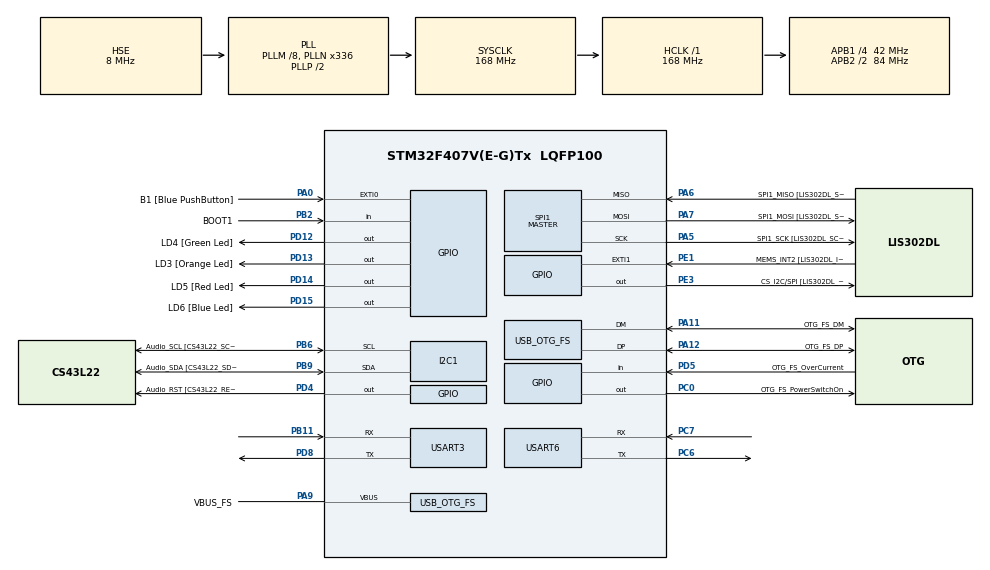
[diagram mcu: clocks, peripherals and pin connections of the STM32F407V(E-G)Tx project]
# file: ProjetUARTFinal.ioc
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Mcu.Family=STM32F4
Mcu.Name=STM32F407V(E-G)Tx
Mcu.Package=LQFP100
NVIC.OTG_FS_IRQn=true\:0\:0\:false\:false\:true\:true\:true
NVIC.PriorityGroup=NVIC_PRIORITYGROUP_0
NVIC.USART3_IRQn=true\:0\:0\:false\:false\:true\:true\:true
PA0-WKUP.GPIO_Label=B1 [Blue PushButton]
PA0-WKUP.GPIO_ModeDefaultEXTI=GPIO_MODE_EVT_RISING
PA0-WKUP.GPIO_PuPd=GPIO_NOPULL
PA0-WKUP.Signal=GPXTI0
PA10.GPIO_Label=OTG_FS_ID
PA10.GPIO_Mode=GPIO_MODE_AF_PP
PA10.GPIO_PuPd=GPIO_NOPULL
PA10.GPIO_Speed=GPIO_SPEED_FREQ_LOW
PA10.Signal=USB_OTG_FS_ID
PA11.GPIO_Label=OTG_FS_DM
PA11.GPIO_Mode=GPIO_MODE_AF_PP
PA11.GPIO_PuPd=GPIO_NOPULL
PA11.GPIO_Speed=GPIO_SPEED_FREQ_LOW
PA11.Mode=Host_Only
PA11.Signal=USB_OTG_FS_DM
PA12.GPIO_Label=OTG_FS_DP
PA12.GPIO_Mode=GPIO_MODE_AF_PP
PA12.GPIO_PuPd=GPIO_NOPULL
PA12.GPIO_Speed=GPIO_SPEED_FREQ_LOW
PA12.Mode=Host_Only
PA12.Signal=USB_OTG_FS_DP
PA13.GPIO_Label=SWDIO
PA13.Mode=Serial_Wire
PA13.Signal=SYS_JTMS-SWDIO
PA14.GPIO_Label=SWCLK
PA14.Mode=Serial_Wire
PA14.Signal=SYS_JTCK-SWCLK
PA4.GPIO_Label=I2S3_WS [CS43L22_LRCK]
PA4.GPIO_Mode=GPIO_MODE_AF_PP
PA4.GPIO_PuPd=GPIO_NOPULL
PA4.GPIO_Speed=GPIO_SPEED_FREQ_LOW
PA4.Signal=I2S3_WS
PA5.GPIO_Label=SPI1_SCK [LIS302DL_SCL/SPC]
PA5.GPIO_Mode=GPIO_MODE_AF_PP
PA5.GPIO_PuPd=GPIO_NOPULL
PA5.GPIO_Speed=GPIO_SPEED_FREQ_LOW
PA5.Mode=Full_Duplex_Master
PA5.Signal=SPI1_SCK
PA6.GPIO_Label=SPI1_MISO [LIS302DL_SDO]
PA6.GPIO_Mode=GPIO_MODE_AF_PP
PA6.GPIO_PuPd=GPIO_NOPULL
PA6.GPIO_Speed=GPIO_SPEED_FREQ_LOW
PA6.Mode=Full_Duplex_Master
PA6.Signal=SPI1_MISO
PA7.GPIO_Label=SPI1_MOSI [LIS302DL_SDA/SDI/SDO]
PA7.GPIO_Mode=GPIO_MODE_AF_PP
PA7.GPIO_PuPd=GPIO_NOPULL
PA7.GPIO_Speed=GPIO_SPEED_FREQ_LOW
PA7.Mode=Full_Duplex_Master
PA7.Signal=SPI1_MOSI
PA9.GPIO_Label=VBUS_FS
PA9.GPIO_Mode=GPIO_MODE_INPUT
PA9.GPIO_PuPd=GPIO_NOPULL
PA9.Mode=Activate_VBUS
PA9.Signal=USB_OTG_FS_VBUS
PB10.GPIO_Label=CLK_IN [MP45DT02_CLK]
PB10.GPIO_Mode=GPIO_MODE_AF_PP
PB10.GPIO_PuPd=GPIO_NOPULL
PB10.GPIO_Speed=GPIO_SPEED_FREQ_LOW
PB10.Signal=I2S2_CK
PB11.Mode=Asynchronous
PB11.Signal=USART3_RX
PB2.GPIO_Label=BOOT1
PB2.GPIO_Mode=GPIO_MODE_INPUT
PB2.GPIO_PuPd=GPIO_NOPULL
PB2.Signal=GPIO_Input
PB3.GPIO_Label=SWO
PB3.Signal=SYS_JTDO-SWO
PB6.GPIO_Label=Audio_SCL [CS43L22_SCL]
PB6.GPIO_Mode=GPIO_MODE_AF_OD
PB6.GPIO_PuPd=GPIO_NOPULL
PB6.GPIO_Speed=GPIO_SPEED_FREQ_LOW
PB6.Mode=I2C
PB6.Signal=I2C1_SCL
PB9.GPIO_Label=Audio_SDA [CS43L22_SDA]
PB9.GPIO_Mode=GPIO_MODE_AF_OD
PB9.GPIO_PuPd=GPIO_NOPULL
PB9.GPIO_Speed=GPIO_SPEED_FREQ_LOW
PB9.Mode=I2C
PB9.Signal=I2C1_SDA
PC0.GPIO_Label=OTG_FS_PowerSwitchOn
PC0.GPIO_PuPd=GPIO_NOPULL
PC0.GPIO_Speed=GPIO_SPEED_FREQ_LOW
PC0.PinState=GPIO_PIN_SET
PC0.Signal=GPIO_Output
PC10.GPIO_Label=I2S3_SCK [CS43L22_SCLK]
PC10.GPIO_Mode=GPIO_MODE_AF_PP
PC10.GPIO_PuPd=GPIO_NOPULL
PC10.GPIO_Speed=GPIO_SPEED_FREQ_LOW
PC10.Signal=I2S3_CK
PC12.GPIO_Label=I2S3_SD [CS43L22_SDIN]
PC12.GPIO_Mode=GPIO_MODE_AF_PP
PC12.GPIO_PuPd=GPIO_NOPULL
PC12.GPIO_Speed=GPIO_SPEED_FREQ_LOW
PC12.Signal=I2S3_SD
PC14-OSC32_IN.GPIO_Label=PC14-OSC32_IN
PC14-OSC32_IN.Mode=LSE-External-Oscillator
PC14-OSC32_IN.Signal=RCC_OSC32_IN
PC15-OSC32_OUT.GPIO_Label=PC15-OSC32_OUT
PC15-OSC32_OUT.Mode=LSE-External-Oscillator
PC15-OSC32_OUT.Signal=RCC_OSC32_OUT
PC3.GPIO_Label=PDM_OUT [MP45DT02_DOUT]
PC3.GPIO_Mode=GPIO_MODE_AF_PP
PC3.GPIO_PuPd=GPIO_NOPULL
PC3.GPIO_Speed=GPIO_SPEED_FREQ_LOW
PC3.Signal=I2S2_SD
PC6.Mode=Asynchronous
PC6.Signal=USART6_TX
PC7.Mode=Asynchronous
PC7.Signal=USART6_RX
PD12.GPIO_Label=LD4 [Green Led]
PD12.GPIO_PuPd=GPIO_NOPULL
PD12.GPIO_Speed=GPIO_SPEED_FREQ_LOW
PD12.Signal=GPIO_Output
PD13.GPIO_Label=LD3 [Orange Led]
PD13.GPIO_PuPd=GPIO_NOPULL
PD13.GPIO_Speed=GPIO_SPEED_FREQ_LOW
PD13.Signal=GPIO_Output
PD14.GPIO_Label=LD5 [Red Led]
PD14.GPIO_PuPd=GPIO_NOPULL
PD14.GPIO_Speed=GPIO_SPEED_FREQ_LOW
PD14.Signal=GPIO_Output
PD15.GPIO_Label=LD6 [Blue Led]
PD15.GPIO_PuPd=GPIO_NOPULL
PD15.GPIO_Speed=GPIO_SPEED_FREQ_LOW
PD15.Signal=GPIO_Output
PD4.GPIO_Label=Audio_RST [CS43L22_RESET]
PD4.GPIO_PuPd=GPIO_NOPULL
PD4.GPIO_Speed=GPIO_SPEED_FREQ_LOW
PD4.Signal=GPIO_Output
PD5.GPIO_Label=OTG_FS_OverCurrent
PD5.GPIO_Mode=GPIO_MODE_INPUT
PD5.GPIO_PuPd=GPIO_NOPULL
PD5.Signal=GPIO_Input
PD8.Mode=Asynchronous
PD8.Signal=USART3_TX
PE1.GPIO_Label=MEMS_INT2 [LIS302DL_INT2]
PE1.GPIO_ModeDefaultEXTI=GPIO_MODE_EVT_RISING
PE1.GPIO_PuPd=GPIO_NOPULL
PE1.Signal=GPXTI1
PE3.GPIO_Label=CS_I2C/SPI [LIS302DL_CS_I2C/SPI]
PE3.GPIO_PuPd=GPIO_NOPULL
PE3.GPIO_Speed=GPIO_SPEED_FREQ_LOW
PE3.Signal=GPIO_Output
PH0-OSC_IN.GPIO_Label=PH0-OSC_IN
PH0-OSC_IN.Mode=HSE-External-Oscillator
PH0-OSC_IN.Signal=RCC_OSC_IN
PH1-OSC_OUT.GPIO_Label=PH1-OSC_OUT
PH1-OSC_OUT.Mode=HSE-External-Oscillator
PH1-OSC_OUT.Signal=RCC_OSC_OUT
ProjectManager.HeapSize=0x200
ProjectManager.StackSize=0x400
ProjectManager.TargetToolchain=TrueSTUDIO
RCC.48MHZClocksFreq_Value=48000000
RCC.AHBFreq_Value=168000000
RCC.APB1CLKDivider=RCC_HCLK_DIV4
RCC.APB1Freq_Value=42000000
RCC.APB1TimFreq_Value=84000000
RCC.APB2CLKDivider=RCC_HCLK_DIV2
RCC.APB2Freq_Value=84000000
RCC.APB2TimFreq_Value=168000000
RCC.CortexFreq_Value=168000000
RCC.HCLKFreq_Value=168000000
RCC.HSE_VALUE=8000000
RCC.HSI_VALUE=16000000
RCC.PLLM=8
RCC.PLLN=336
RCC.PLLQ=7
RCC.SYSCLKFreq_VALUE=168000000
RCC.SYSCLKSource=RCC_SYSCLKSOURCE_PLLCLK
RCC.VCOOutputFreq_Value=336000000
SPI1.BaudRatePrescaler-Full_Duplex_Master=SPI_BAUDRATEPRESCALER_2
SPI1.CalculateBaudRate-Full_Duplex_Master=42.0 MBits/s
SPI1.Direction=SPI_DIRECTION_2LINES
SPI1.Mode=SPI_MODE_MASTER
SPI1.Mode-Full_Duplex_Master=SPI_MODE_MASTER
SPI1.VirtualType=VM_MASTER
USART3.VirtualMode=VM_ASYNC
USART6.VirtualMode=VM_ASYNC
USB_HOST.BSP.number=1
USB_HOST.USBH_HandleTypeDef-CDC_FS=hUsbHostFS
USB_HOST.VirtualModeFS=Cdc
USB_HOST0.BSP.STBoard=false
USB_HOST0.BSP.api=Unknown
USB_HOST0.BSP.i2caddr=0
USB_HOST0.BSP.i2creg=0
USB_HOST0.BSP.instance=PC0
USB_HOST0.BSP.ip=GPIO
USB_HOST0.BSP.mode=Output
USB_HOST0.BSP.name=Drive_VBUS_FS
USB_HOST0.BSP.solution=PC0
USB_OTG_FS.VirtualMode=Host_Only
USB_OTG_FS.phy_itface=HCD_PHY_EMBEDDED
VP_USB_HOST_VS_USB_HOST_CDC_FS.Mode=CDC_FS
board=STM32F407G-DISC1

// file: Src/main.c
/* USER CODE BEGIN Header */
/**
  ******************************************************************************
  * @file           : main.c
  * @brief          : Main program body
  ******************************************************************************
  * @attention
  *
  * <h2><center>&copy; Copyright (c) 2020 STMicroelectronics.
  * All rights reserved.</center></h2>
  *
  * This software component is licensed by ST under Ultimate Liberty license
  * SLA0044, the "License"; You may not use this file except in compliance with
  * the License. You may obtain a copy of the License at:
  *                             www.st.com/SLA0044
  *
  ******************************************************************************
  */
/* USER CODE END Header */

#include "main.h"
#include "usb_host.h"

I2C_HandleTypeDef hi2c1;

SPI_HandleTypeDef hspi1;

UART_HandleTypeDef huart3;
UART_HandleTypeDef huart6;

void SystemClock_Config(void);
static void MX_GPIO_Init(void);
static void MX_I2C1_Init(void);
static void MX_SPI1_Init(void);
static void MX_USART3_UART_Init(void);
static void MX_USART6_UART_Init(void);
void MX_USB_HOST_Process(void);

/* USER CODE BEGIN 0 */
uint8_t received_car = 0;
uint8_t print_flag = 0;
void HAL_UART_RxCpltCallback(UART_HandleTypeDef *huart)
{
	//if ( huart->Instance == USART3 )
	//{
	if(received_car == 64){
		HAL_GPIO_TogglePin( GPIOD, LD3_Pin);
	}
	else{
		HAL_GPIO_TogglePin( GPIOD, LD5_Pin);
	}

	print_flag = 1;
	if(HAL_UART_Receive_IT( &huart3, &received_car, 1 ) == HAL_OK){
		HAL_GPIO_TogglePin( GPIOD, LD4_Pin);

	}
	//}

}

/* USER CODE END 0 */

int main(void)
{

  /* MCU Configuration--------------------------------------------------------*/

  /* Reset of all peripherals, Initializes the Flash interface and the Systick. */
  HAL_Init();

  /* Configure the system clock */
  SystemClock_Config();

  /* Initialize all configured peripherals */
  MX_GPIO_Init();
  MX_I2C1_Init();
  MX_SPI1_Init();
  MX_USART3_UART_Init();
  MX_USART6_UART_Init();
  MX_USB_HOST_Init();

  /* Infinite loop */
  /* USER CODE BEGIN WHILE */
  HAL_UART_Receive_IT( &huart3, &received_car, 1 );

  while (1)
  {
    /* USER CODE END WHILE */
    MX_USB_HOST_Process();
    /* USER CODE BEGIN 3 */

    if(print_flag == 1){
    	HAL_UART_Transmit(&huart6, &received_car, 1, 1000);
    	print_flag = 0;
    }
	HAL_GPIO_TogglePin( GPIOD, LD6_Pin);

  }

  /* USER CODE END 3 */
}

void SystemClock_Config(void)
{
  RCC_OscInitTypeDef RCC_OscInitStruct = {0};
  RCC_ClkInitTypeDef RCC_ClkInitStruct = {0};

  /** Configure the main internal regulator output voltage
  */
  __HAL_RCC_PWR_CLK_ENABLE();
  __HAL_PWR_VOLTAGESCALING_CONFIG(PWR_REGULATOR_VOLTAGE_SCALE1);
  /** Initializes the CPU, AHB and APB busses clocks
  */
  RCC_OscInitStruct.OscillatorType = RCC_OSCILLATORTYPE_HSE;
  RCC_OscInitStruct.HSEState = RCC_HSE_ON;
  RCC_OscInitStruct.PLL.PLLState = RCC_PLL_ON;
  RCC_OscInitStruct.PLL.PLLSource = RCC_PLLSOURCE_HSE;
  RCC_OscInitStruct.PLL.PLLM = 8;
  RCC_OscInitStruct.PLL.PLLN = 336;
  RCC_OscInitStruct.PLL.PLLP = RCC_PLLP_DIV2;
  RCC_OscInitStruct.PLL.PLLQ = 7;
  if (HAL_RCC_OscConfig(&RCC_OscInitStruct) != HAL_OK)
  {
    Error_Handler();
  }
  /** Initializes the CPU, AHB and APB busses clocks
  */
  RCC_ClkInitStruct.ClockType = RCC_CLOCKTYPE_HCLK|RCC_CLOCKTYPE_SYSCLK
                              |RCC_CLOCKTYPE_PCLK1|RCC_CLOCKTYPE_PCLK2;
  RCC_ClkInitStruct.SYSCLKSource = RCC_SYSCLKSOURCE_PLLCLK;
  RCC_ClkInitStruct.AHBCLKDivider = RCC_SYSCLK_DIV1;
  RCC_ClkInitStruct.APB1CLKDivider = RCC_HCLK_DIV4;
  RCC_ClkInitStruct.APB2CLKDivider = RCC_HCLK_DIV2;

  if (HAL_RCC_ClockConfig(&RCC_ClkInitStruct, FLASH_LATENCY_5) != HAL_OK)
  {
    Error_Handler();
  }
}

static void MX_I2C1_Init(void)
{

  hi2c1.Instance = I2C1;
  hi2c1.Init.ClockSpeed = 100000;
  hi2c1.Init.DutyCycle = I2C_DUTYCYCLE_2;
  hi2c1.Init.OwnAddress1 = 0;
  hi2c1.Init.AddressingMode = I2C_ADDRESSINGMODE_7BIT;
  hi2c1.Init.DualAddressMode = I2C_DUALADDRESS_DISABLE;
  hi2c1.Init.OwnAddress2 = 0;
  hi2c1.Init.GeneralCallMode = I2C_GENERALCALL_DISABLE;
  hi2c1.Init.NoStretchMode = I2C_NOSTRETCH_DISABLE;
  if (HAL_I2C_Init(&hi2c1) != HAL_OK)
  {
    Error_Handler();
  }

}

static void MX_SPI1_Init(void)
{

  /* SPI1 parameter configuration*/
  hspi1.Instance = SPI1;
  hspi1.Init.Mode = SPI_MODE_MASTER;
  hspi1.Init.Direction = SPI_DIRECTION_2LINES;
  hspi1.Init.DataSize = SPI_DATASIZE_8BIT;
  hspi1.Init.CLKPolarity = SPI_POLARITY_LOW;
  hspi1.Init.CLKPhase = SPI_PHASE_1EDGE;
  hspi1.Init.NSS = SPI_NSS_SOFT;
  hspi1.Init.BaudRatePrescaler = SPI_BAUDRATEPRESCALER_2;
  hspi1.Init.FirstBit = SPI_FIRSTBIT_MSB;
  hspi1.Init.TIMode = SPI_TIMODE_DISABLE;
  hspi1.Init.CRCCalculation = SPI_CRCCALCULATION_DISABLE;
  hspi1.Init.CRCPolynomial = 10;
  if (HAL_SPI_Init(&hspi1) != HAL_OK)
  {
    Error_Handler();
  }

}

static void MX_USART3_UART_Init(void)
{

  huart3.Instance = USART3;
  huart3.Init.BaudRate = 115200;
  huart3.Init.WordLength = UART_WORDLENGTH_8B;
  huart3.Init.StopBits = UART_STOPBITS_1;
  huart3.Init.Parity = UART_PARITY_NONE;
  huart3.Init.Mode = UART_MODE_TX_RX;
  huart3.Init.HwFlowCtl = UART_HWCONTROL_NONE;
  huart3.Init.OverSampling = UART_OVERSAMPLING_16;
  if (HAL_UART_Init(&huart3) != HAL_OK)
  {
    Error_Handler();
  }

}

static void MX_USART6_UART_Init(void)
{

  huart6.Instance = USART6;
  huart6.Init.BaudRate = 115200;
  huart6.Init.WordLength = UART_WORDLENGTH_8B;
  huart6.Init.StopBits = UART_STOPBITS_1;
  huart6.Init.Parity = UART_PARITY_NONE;
  huart6.Init.Mode = UART_MODE_TX_RX;
  huart6.Init.HwFlowCtl = UART_HWCONTROL_NONE;
  huart6.Init.OverSampling = UART_OVERSAMPLING_16;
  if (HAL_UART_Init(&huart6) != HAL_OK)
  {
    Error_Handler();
  }

}

static void MX_GPIO_Init(void)
{
  GPIO_InitTypeDef GPIO_InitStruct = {0};

  /* GPIO Ports Clock Enable */
  __HAL_RCC_GPIOE_CLK_ENABLE();
  __HAL_RCC_GPIOC_CLK_ENABLE();
  __HAL_RCC_GPIOH_CLK_ENABLE();
  __HAL_RCC_GPIOA_CLK_ENABLE();
  __HAL_RCC_GPIOB_CLK_ENABLE();
  __HAL_RCC_GPIOD_CLK_ENABLE();

  /*Configure GPIO pin Output Level */
  HAL_GPIO_WritePin(CS_I2C_SPI_GPIO_Port, CS_I2C_SPI_Pin, GPIO_PIN_RESET);

  /*Configure GPIO pin Output Level */
  HAL_GPIO_WritePin(OTG_FS_PowerSwitchOn_GPIO_Port, OTG_FS_PowerSwitchOn_Pin, GPIO_PIN_SET);

  /*Configure GPIO pin Output Level */
  HAL_GPIO_WritePin(GPIOD, LD4_Pin|LD3_Pin|LD5_Pin|LD6_Pin
                          |Audio_RST_Pin, GPIO_PIN_RESET);

  /*Configure GPIO pin : CS_I2C_SPI_Pin */
  GPIO_InitStruct.Pin = CS_I2C_SPI_Pin;
  GPIO_InitStruct.Mode = GPIO_MODE_OUTPUT_PP;
  GPIO_InitStruct.Pull = GPIO_NOPULL;
  GPIO_InitStruct.Speed = GPIO_SPEED_FREQ_LOW;
  HAL_GPIO_Init(CS_I2C_SPI_GPIO_Port, &GPIO_InitStruct);

  /*Configure GPIO pin : OTG_FS_PowerSwitchOn_Pin */
  GPIO_InitStruct.Pin = OTG_FS_PowerSwitchOn_Pin;
  GPIO_InitStruct.Mode = GPIO_MODE_OUTPUT_PP;
  GPIO_InitStruct.Pull = GPIO_NOPULL;
  GPIO_InitStruct.Speed = GPIO_SPEED_FREQ_LOW;
  HAL_GPIO_Init(OTG_FS_PowerSwitchOn_GPIO_Port, &GPIO_InitStruct);

  /*Configure GPIO pin : PDM_OUT_Pin */
  GPIO_InitStruct.Pin = PDM_OUT_Pin;
  GPIO_InitStruct.Mode = GPIO_MODE_AF_PP;
  GPIO_InitStruct.Pull = GPIO_NOPULL;
  GPIO_InitStruct.Speed = GPIO_SPEED_FREQ_LOW;
  GPIO_InitStruct.Alternate = GPIO_AF5_SPI2;
  HAL_GPIO_Init(PDM_OUT_GPIO_Port, &GPIO_InitStruct);

  /*Configure GPIO pin : B1_Pin */
  GPIO_InitStruct.Pin = B1_Pin;
  GPIO_InitStruct.Mode = GPIO_MODE_EVT_RISING;
  GPIO_InitStruct.Pull = GPIO_NOPULL;
  HAL_GPIO_Init(B1_GPIO_Port, &GPIO_InitStruct);

  /*Configure GPIO pin : I2S3_WS_Pin */
  GPIO_InitStruct.Pin = I2S3_WS_Pin;
  GPIO_InitStruct.Mode = GPIO_MODE_AF_PP;
  GPIO_InitStruct.Pull = GPIO_NOPULL;
  GPIO_InitStruct.Speed = GPIO_SPEED_FREQ_LOW;
  GPIO_InitStruct.Alternate = GPIO_AF6_SPI3;
  HAL_GPIO_Init(I2S3_WS_GPIO_Port, &GPIO_InitStruct);

  /*Configure GPIO pin : BOOT1_Pin */
  GPIO_InitStruct.Pin = BOOT1_Pin;
  GPIO_InitStruct.Mode = GPIO_MODE_INPUT;
  GPIO_InitStruct.Pull = GPIO_NOPULL;
  HAL_GPIO_Init(BOOT1_GPIO_Port, &GPIO_InitStruct);

  /*Configure GPIO pin : CLK_IN_Pin */
  GPIO_InitStruct.Pin = CLK_IN_Pin;
  GPIO_InitStruct.Mode = GPIO_MODE_AF_PP;
  GPIO_InitStruct.Pull = GPIO_NOPULL;
  GPIO_InitStruct.Speed = GPIO_SPEED_FREQ_LOW;
  GPIO_InitStruct.Alternate = GPIO_AF5_SPI2;
  HAL_GPIO_Init(CLK_IN_GPIO_Port, &GPIO_InitStruct);

  /*Configure GPIO pins : LD4_Pin LD3_Pin LD5_Pin LD6_Pin
                           Audio_RST_Pin */
  GPIO_InitStruct.Pin = LD4_Pin|LD3_Pin|LD5_Pin|LD6_Pin
                          |Audio_RST_Pin;
  GPIO_InitStruct.Mode = GPIO_MODE_OUTPUT_PP;
  GPIO_InitStruct.Pull = GPIO_NOPULL;
  GPIO_InitStruct.Speed = GPIO_SPEED_FREQ_LOW;
  HAL_GPIO_Init(GPIOD, &GPIO_InitStruct);

  /*Configure GPIO pins : I2S3_SCK_Pin I2S3_SD_Pin */
  GPIO_InitStruct.Pin = I2S3_SCK_Pin|I2S3_SD_Pin;
  GPIO_InitStruct.Mode = GPIO_MODE_AF_PP;
  GPIO_InitStruct.Pull = GPIO_NOPULL;
  GPIO_InitStruct.Speed = GPIO_SPEED_FREQ_LOW;
  GPIO_InitStruct.Alternate = GPIO_AF6_SPI3;
  HAL_GPIO_Init(GPIOC, &GPIO_InitStruct);

  /*Configure GPIO pin : OTG_FS_OverCurrent_Pin */
  GPIO_InitStruct.Pin = OTG_FS_OverCurrent_Pin;
  GPIO_InitStruct.Mode = GPIO_MODE_INPUT;
  GPIO_InitStruct.Pull = GPIO_NOPULL;
  HAL_GPIO_Init(OTG_FS_OverCurrent_GPIO_Port, &GPIO_InitStruct);

  /*Configure GPIO pin : MEMS_INT2_Pin */
  GPIO_InitStruct.Pin = MEMS_INT2_Pin;
  GPIO_InitStruct.Mode = GPIO_MODE_EVT_RISING;
  GPIO_InitStruct.Pull = GPIO_NOPULL;
  HAL_GPIO_Init(MEMS_INT2_GPIO_Port, &GPIO_InitStruct);

}

void Error_Handler(void)
{
}

/************************ (C) COPYRIGHT STMicroelectronics *****END OF FILE****/
